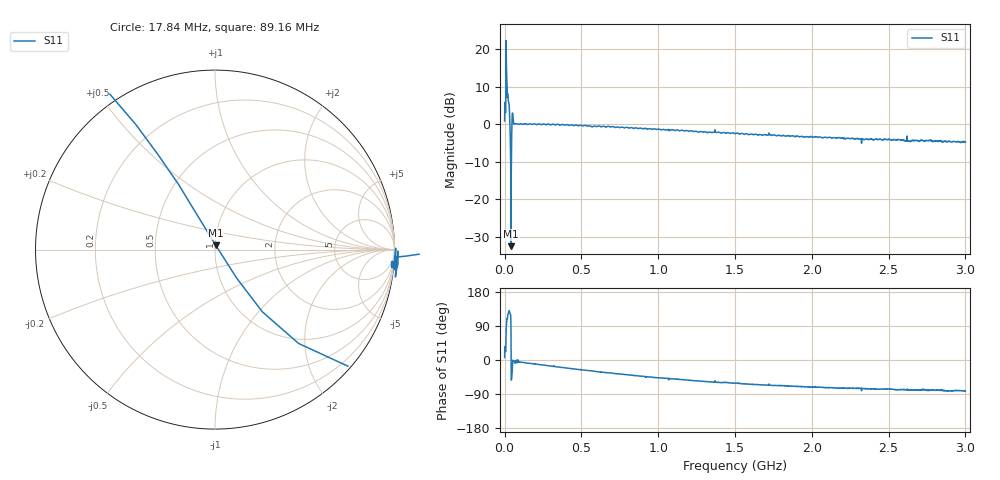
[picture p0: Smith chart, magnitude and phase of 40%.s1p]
# HZ S RI R 50
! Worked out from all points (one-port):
!   2020 points, 10 kHz to 3 GHz, reference 50 ohm
!   lowest |S11| = -32.5 dB at 41.61 MHz (marker M1), VSWR 1.05, Z = 50.4 + j2.35 ohm
!   |S11| at or under -10 dB: 39.28 MHz to 43.98 MHz (4.702 MHz wide, 11.3 % of centre)
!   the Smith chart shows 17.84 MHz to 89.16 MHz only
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10000  1.101 0.128
1495879  1.681 1.03
5953516  1.327 0.5388
1.486879e7  -0.9988 3.562
1.635467e7  -1.056 3.012
1.932643e7  -1.048 2.348
2.378406e7  -1.14 1.764
2.526994e7  -1.147 1.644
2.675582e7  -1.155 1.545
2.972758e7  -1.177 1.391
3.269934e7  -0.7646 1.04
3.56711e7  -0.4397 0.6949
4.161461e7  0.00463 0.0233
4.755813e7  0.7407 -0.6496
5.350164e7  1.338 -0.0817
5.64734e7  1.137 -0.0256
5.944516e7  1.016 -0.0413
6.39028e7  1.007 -0.0636
6.836043e7  1.005 -0.1525
7.578983e7  1.019 -0.00813
3.759374e8  0.9375 -0.3382
7.503789e8  0.7203 -0.5409
1.126306e9  0.5354 -0.6513
1.500748e9  0.3587 -0.6566
1.875189e9  0.248 -0.6591
2.251117e9  0.1736 -0.6217
2.625558e9  0.1241 -0.5939
3e9  0.0827 -0.5754
